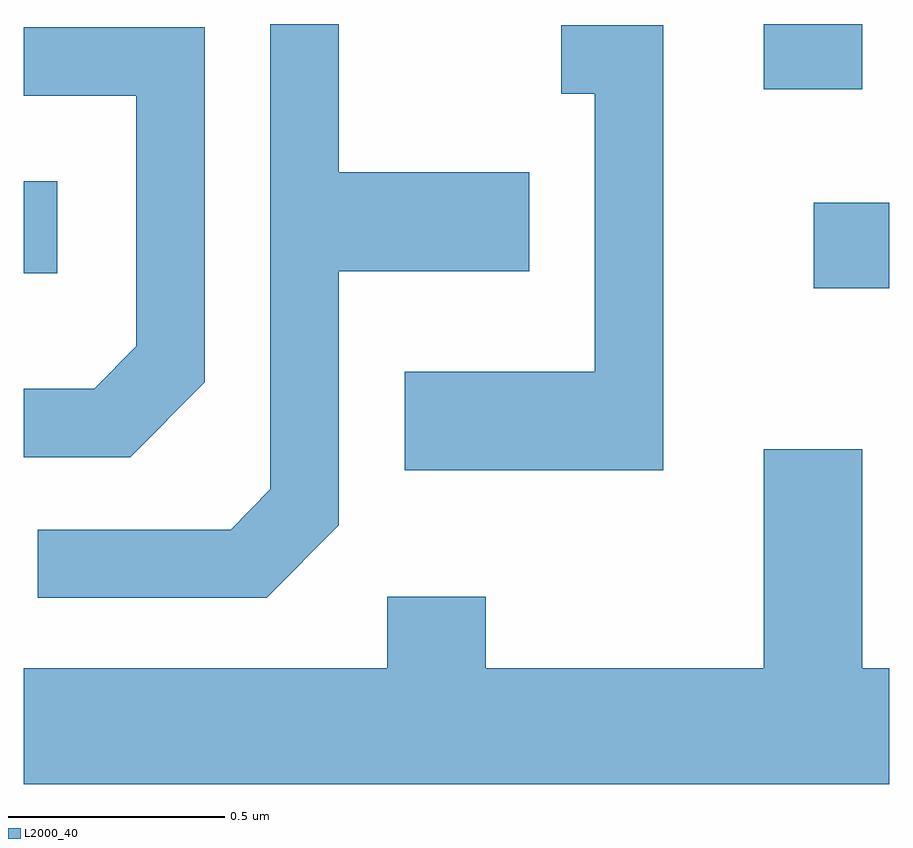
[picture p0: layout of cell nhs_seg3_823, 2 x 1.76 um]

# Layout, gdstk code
import gdstk
lib = gdstk.Library(unit=1e-6, precision=1e-09)
def R(c, l, rs):  # rectangles x0, y0, x1, y1
    for r in rs: c.add(gdstk.rectangle(r[:2], r[2:], *l))
def P(c, l, *ps):  # polygons
    for p in ps: c.add(gdstk.Polygon(p, *l))
L2000_40 = (2000, 40)

nhs_seg3_823 = lib.new_cell('nhs_seg3_823')
R(nhs_seg3_823, L2000_40, [(193.436,1118.281,193.611,1118.479), (191.611,1118.316,191.689,1118.529), (193.321,1118.741,193.549,1118.892)])
P(nhs_seg3_823, L2000_40, [(192.339,1117.734),(192.339,1118.321),(192.779,1118.321),(192.779,1118.549),(192.339,1118.549),(192.339,1118.892),(192.181,1118.892),(192.181,1117.817),(192.089,1117.724),(191.643,1117.724),(191.643,1117.566),(192.172,1117.566)],
  [(193.089,1118.889),(192.853,1118.889),(192.853,1118.731),(192.931,1118.731),(192.931,1118.089),(192.491,1118.089),(192.491,1117.861),(193.089,1117.861)],
  [(192.029,1118.064),(192.029,1118.884),(191.611,1118.884),(191.611,1118.726),(191.871,1118.726),(191.871,1118.147),(191.774,1118.049),(191.611,1118.049),(191.611,1117.891),(191.857,1117.891)],
  [(193.611,1117.404),(193.549,1117.404),(193.549,1117.909),(193.321,1117.909),(193.321,1117.404),(192.679,1117.404),(192.679,1117.569),(192.451,1117.569),(192.451,1117.404),(191.611,1117.404),(191.611,1117.136),(193.611,1117.136)])

lib.write_gds('nhs_seg3_823.gds')
